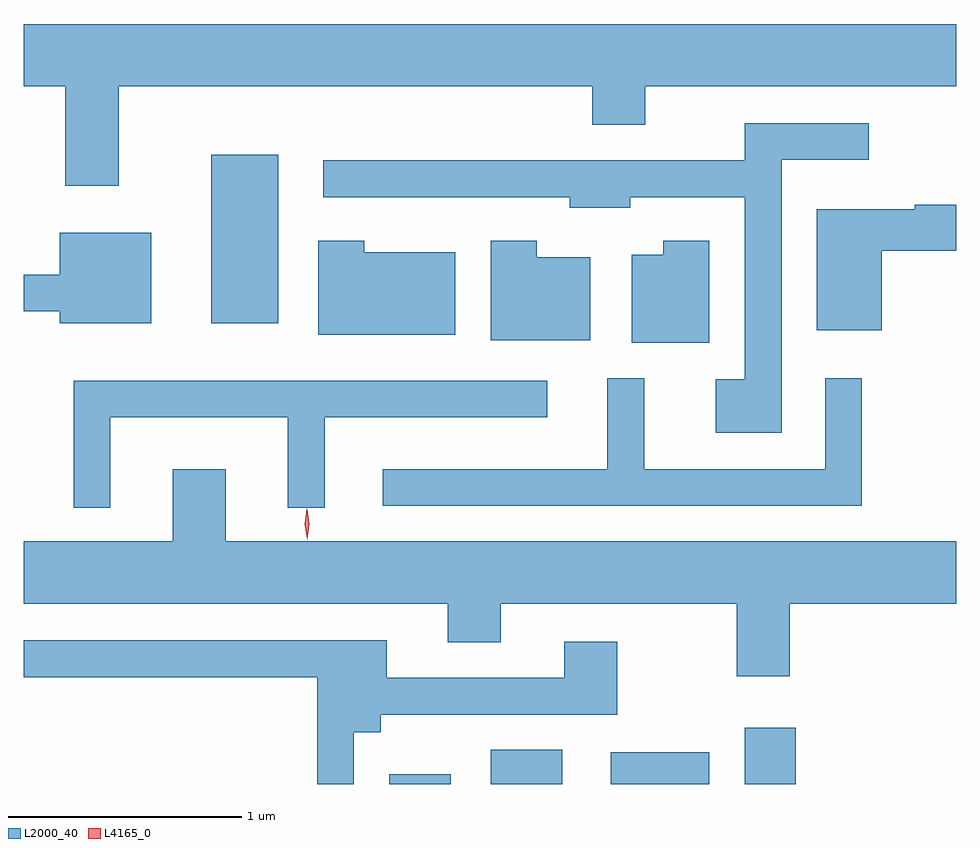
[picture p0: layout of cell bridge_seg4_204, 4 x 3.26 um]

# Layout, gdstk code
import gdstk
lib = gdstk.Library(unit=1e-6, precision=1e-09)
def R(c, l, rs):  # rectangles x0, y0, x1, y1
    for r in rs: c.add(gdstk.rectangle(r[:2], r[2:], *l))
def P(c, l, *ps):  # polygons
    for p in ps: c.add(gdstk.Polygon(p, *l))
L2000_40 = (2000, 40)
L4165_0 = (4165, 0)

bridge_seg4_204 = lib.new_cell('bridge_seg4_204')
R(bridge_seg4_204, L2000_40, [(1127.281,1287.303,1127.544,1287.344), (1127.716,1287.303,1128.024,1287.449), (1128.231,1287.303,1128.654,1287.439), (1128.806,1287.303,1129.024,1287.544), (1126.516,1289.281,1126.804,1290.004)])
P(bridge_seg4_204, L2000_40, [(1126.119,1290.296),(1128.151,1290.296),(1128.151,1290.131),(1128.379,1290.131),(1128.379,1290.296),(1129.713,1290.296),(1129.713,1290.564),(1125.713,1290.564),(1125.713,1290.296),(1125.891,1290.296),(1125.891,1289.871),(1126.119,1289.871)],
  [(1128.964,1289.981),(1129.338,1289.981),(1129.338,1290.139),(1128.806,1290.139),(1128.806,1289.979),(1126.998,1289.979),(1126.998,1289.821),(1128.056,1289.821),(1128.056,1289.776),(1128.314,1289.776),(1128.314,1289.821),(1128.806,1289.821),(1128.806,1289.039),(1128.681,1289.039),(1128.681,1288.811),(1128.964,1288.811)],
  [(1129.394,1289.591),(1129.713,1289.591),(1129.713,1289.789),(1129.536,1289.789),(1129.536,1289.769),(1129.116,1289.769),(1129.116,1289.251),(1129.394,1289.251)],
  [(1126.259,1289.669),(1125.866,1289.669),(1125.866,1289.489),(1125.713,1289.489),(1125.713,1289.331),(1125.866,1289.331),(1125.866,1289.281),(1126.259,1289.281)],
  [(1128.144,1289.564),(1127.914,1289.564),(1127.914,1289.634),(1127.716,1289.634),(1127.716,1289.206),(1128.144,1289.206)],
  [(1128.654,1289.634),(1128.456,1289.634),(1128.456,1289.574),(1128.321,1289.574),(1128.321,1289.196),(1128.654,1289.196)],
  [(1127.564,1289.584),(1127.174,1289.584),(1127.174,1289.634),(1126.976,1289.634),(1126.976,1289.231),(1127.564,1289.231)],
  [(1129.309,1289.043),(1129.151,1289.043),(1129.151,1288.654),(1128.374,1288.654),(1128.374,1289.043),(1128.216,1289.043),(1128.216,1288.654),(1127.253,1288.654),(1127.253,1288.496),(1129.309,1288.496)],
  [(1126.084,1288.876),(1126.846,1288.876),(1126.846,1288.488),(1127.004,1288.488),(1127.004,1288.876),(1127.958,1288.876),(1127.958,1289.034),(1125.926,1289.034),(1125.926,1288.488),(1126.084,1288.488)],
  [(1128.999,1288.076),(1129.713,1288.076),(1129.713,1288.344),(1126.579,1288.344),(1126.579,1288.654),(1126.351,1288.654),(1126.351,1288.344),(1125.713,1288.344),(1125.713,1288.076),(1127.531,1288.076),(1127.531,1287.911),(1127.759,1287.911),(1127.759,1288.076),(1128.771,1288.076),(1128.771,1287.766),(1128.999,1287.766)],
  [(1127.129,1287.526),(1127.244,1287.526),(1127.244,1287.601),(1128.259,1287.601),(1128.259,1287.914),(1128.031,1287.914),(1128.031,1287.759),(1127.269,1287.759),(1127.269,1287.919),(1125.713,1287.919),(1125.713,1287.761),(1126.971,1287.761),(1126.971,1287.303),(1127.129,1287.303)])
P(bridge_seg4_204, L4165_0, [(1126.929,1288.352),(1126.928,1288.353),(1126.918,1288.417),(1126.927,1288.482),(1126.928,1288.482),(1126.928,1288.482),(1126.938,1288.417),(1126.929,1288.353)])

lib.write_gds('bridge_seg4_204.gds')
